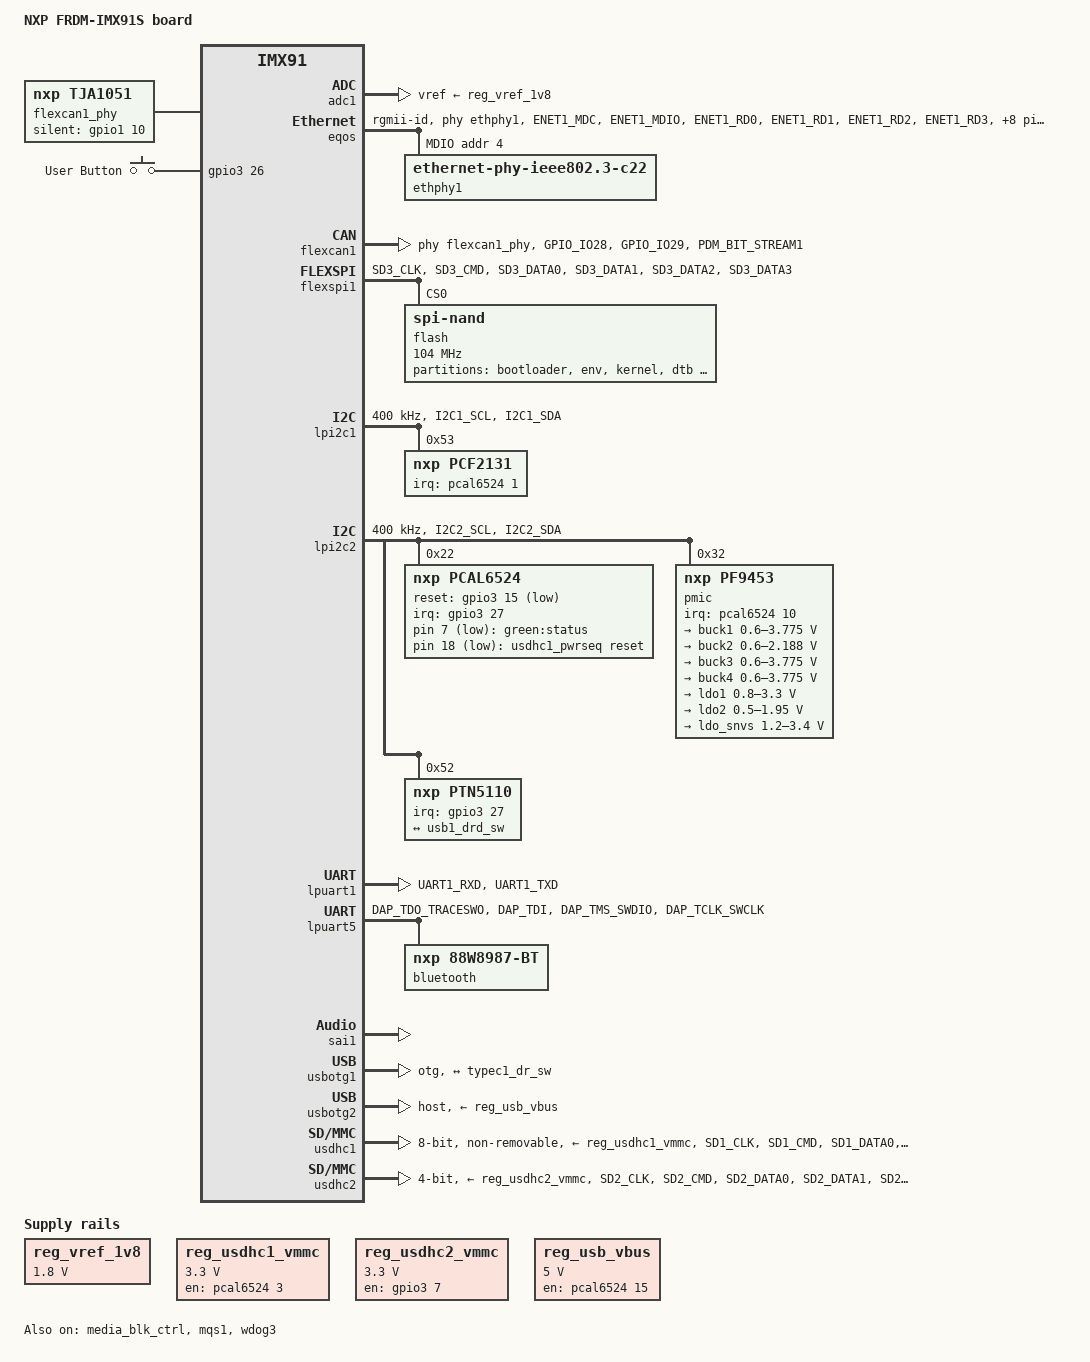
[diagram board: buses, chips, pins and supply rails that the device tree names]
// SPDX-License-Identifier: (GPL-2.0+ OR MIT)
/*
 * Copyright 2025 NXP
 */

/dts-v1/;

#include <dt-bindings/usb/pd.h>
#include "imx91.dtsi"

/ {
	compatible = "fsl,imx91-11x11-frdm-s", "fsl,imx91";
	model = "NXP FRDM-IMX91S board";

	aliases {
		ethernet0 = &eqos;
		gpio0 = &gpio1;
		gpio1 = &gpio2;
		gpio2 = &gpio3;
		gpio3 = &gpio4;
		i2c0 = &lpi2c1;
		i2c1 = &lpi2c2;
		mmc0 = &usdhc1;
		mmc1 = &usdhc2;
		rtc0 = &pcf2131;
		rtc1 = &bbnsm_rtc;
		serial0 = &lpuart1;
		serial4 = &lpuart5;
	};

	chosen {
		stdout-path = &lpuart1;
	};

	flexcan1_phy: can-phy {
		compatible = "nxp,tja1051";
		#phy-cells = <0>;
		max-bitrate = <5000000>;
		silent-gpios = <&gpio1 10 GPIO_ACTIVE_HIGH>;
	};

	gpio-keys {
		compatible = "gpio-keys";
		pinctrl-0 = <&pinctrl_gpio_key>;
		pinctrl-names = "default";

		button {
			interrupt-parent = <&gpio3>;
			interrupts = <26 IRQ_TYPE_EDGE_FALLING>;
			gpios = <&gpio3 26 GPIO_PULL_UP>;
			label = "User Button";
			linux,code = <BTN_1>;
		};
	};

	gpio-leds {
		compatible = "gpio-leds";

		led-0 {
			default-state = "on";
			gpios = <&pcal6524 7 GPIO_ACTIVE_LOW>;
			label = "green:status";
		};
	};

	reg_vref_1v8: regulator-adc-vref {
		compatible = "regulator-fixed";
		regulator-max-microvolt = <1800000>;
		regulator-min-microvolt = <1800000>;
		regulator-name = "vref_1v8";
	};

	reg_usdhc1_vmmc: regulator-usdhc1 {
		compatible = "regulator-fixed";
		regulator-max-microvolt = <3300000>;
		regulator-min-microvolt = <3300000>;
		regulator-name = "WLAN_EN";
		startup-delay-us = <20000>;
		gpio = <&pcal6524 3 GPIO_ACTIVE_HIGH>;
		enable-active-high;
	};

	reg_usdhc2_vmmc: regulator-usdhc2 {
		compatible = "regulator-fixed";
		off-on-delay-us = <12000>;
		pinctrl-0 = <&pinctrl_reg_usdhc2_vmmc>;
		pinctrl-names = "default";
		regulator-max-microvolt = <3300000>;
		regulator-min-microvolt = <3300000>;
		regulator-name = "VSD_3V3";
		gpio = <&gpio3 7 GPIO_ACTIVE_HIGH>;
		enable-active-high;
		bootph-pre-ram;
		bootph-some-ram;
	};

	reg_usb_vbus: regulator-vbus {
		compatible = "regulator-fixed";
		regulator-max-microvolt = <5000000>;
		regulator-min-microvolt = <5000000>;
		regulator-name = "USB_VBUS";
		gpio = <&pcal6524 15 GPIO_ACTIVE_HIGH>;
		enable-active-high;
	};

	reserved-memory {
		#address-cells = <2>;
		#size-cells = <2>;
		ranges;

		linux,cma {
			compatible = "shared-dma-pool";
			alloc-ranges = <0 0x80000000 0 0x20000000>;
			reusable;
			size = <0 0x2000000>;
			linux,cma-default;
		};
	};

	soc@0 {
		bootph-all;
		bootph-pre-ram;
	};

	sound-mqs {
		compatible = "fsl,imx-audio-mqs";
		model = "mqs-audio";
		audio-codec = <&mqs1>;
		audio-cpu = <&sai1>;
	};

	usdhc1_pwrseq: usdhc1-pwrseq {
		compatible = "mmc-pwrseq-simple";
		reset-gpios = <&pcal6524 18 GPIO_ACTIVE_LOW>;
	};
};

&adc1 {
	vref-supply = <&reg_vref_1v8>;
	status = "okay";
};

&aips1 {
	bootph-pre-ram;
	bootph-all;
};

&aips2 {
	bootph-pre-ram;
	bootph-some-ram;
};

&aips3 {
	bootph-pre-ram;
	bootph-some-ram;
};

&clk {
	bootph-all;
	bootph-pre-ram;
};

&clk_ext1 {
	bootph-all;
	bootph-pre-ram;
};

&eqos {
	phy-handle = <&ethphy1>;
	phy-mode = "rgmii-id";
	pinctrl-0 = <&pinctrl_eqos>;
	pinctrl-1 = <&pinctrl_eqos_sleep>;
	pinctrl-names = "default", "sleep";
	status = "okay";

	mdio {
		compatible = "snps,dwmac-mdio";
		#address-cells = <1>;
		#size-cells = <0>;
		clock-frequency = <5000000>;

		ethphy1: ethernet-phy@4 {
			compatible = "ethernet-phy-ieee802.3-c22";
			reg = <4>;
		};
	};
};

&flexcan1 {
	phys = <&flexcan1_phy>;
	pinctrl-0 = <&pinctrl_flexcan1>;
	pinctrl-1 = <&pinctrl_flexcan1_sleep>;
	pinctrl-names = "default", "sleep";
	status = "okay";
};

&flexspi1 {
	pinctrl-0 = <&pinctrl_flexspi1>;
	pinctrl-names = "default";
	status = "okay";

	flash@0 {
		compatible = "spi-nand";
		reg = <0>;
		#address-cells = <1>;
		#size-cells = <1>;
		spi-max-frequency = <104000000>;
		spi-rx-bus-width = <4>;
		spi-tx-bus-width = <4>;

		partitions {
			compatible = "fixed-partitions";
			#address-cells = <1>;
			#size-cells = <1>;

			partition@0 {
				reg = <0x000000 0x800000>;
				label = "bootloader";
			};

			partition@1 {
				reg = <0x800000 0x800000>;
				label = "env";
			};

			partition@2 {
				reg = <0x1000000 0x2800000>;
				label = "kernel";
			};

			partition@3 {
				reg = <0x3800000 0x20000>;
				label = "dtb";
			};

			partition@4 {
				reg = <0x3820000 0xc7e0000>;
				label = "rootfs";
				linux,rootfs;
			};
		};
	};
};

&gpio1 {
	bootph-pre-ram;
	bootph-some-ram;
};

&gpio2 {
	bootph-pre-ram;
	bootph-some-ram;
};

&gpio3 {
	bootph-pre-ram;
	bootph-some-ram;
};

&gpio4 {
	bootph-pre-ram;
	bootph-some-ram;
};

&iomuxc {
	bootph-pre-ram;
	bootph-some-ram;

	pinctrl_eqos: eqosgrp {
		fsl,pins = <
			MX91_PAD_ENET1_MDC__ENET1_MDC				0x57e
			MX91_PAD_ENET1_MDIO__ENET_QOS_MDIO			0x57e
			MX91_PAD_ENET1_RD0__ENET_QOS_RGMII_RD0			0x57e
			MX91_PAD_ENET1_RD1__ENET_QOS_RGMII_RD1			0x57e
			MX91_PAD_ENET1_RD2__ENET_QOS_RGMII_RD2			0x57e
			MX91_PAD_ENET1_RD3__ENET_QOS_RGMII_RD3			0x57e
			MX91_PAD_ENET1_RXC__ENET_QOS_RGMII_RXC			0x5fe
			MX91_PAD_ENET1_RX_CTL__ENET_QOS_RGMII_RX_CTL		0x57e
			MX91_PAD_ENET1_TD0__ENET_QOS_RGMII_TD0			0x57e
			MX91_PAD_ENET1_TD1__ENET1_RGMII_TD1			0x57e
			MX91_PAD_ENET1_TD2__ENET_QOS_RGMII_TD2			0x57e
			MX91_PAD_ENET1_TD3__ENET_QOS_RGMII_TD3			0x57e
			MX91_PAD_ENET1_TXC__CCM_ENET_QOS_CLOCK_GENERATE_TX_CLK	0x5fe
			MX91_PAD_ENET1_TX_CTL__ENET_QOS_RGMII_TX_CTL		0x57e
		>;
	};

	pinctrl_eqos_sleep: eqossleepgrp {
		fsl,pins = <
			MX91_PAD_ENET1_MDC__GPIO4_IO0				0x31e
			MX91_PAD_ENET1_MDIO__GPIO4_IO1				0x31e
			MX91_PAD_ENET1_RD0__GPIO4_IO10				0x31e
			MX91_PAD_ENET1_RD1__GPIO4_IO11				0x31e
			MX91_PAD_ENET1_RD2__GPIO4_IO12				0x31e
			MX91_PAD_ENET1_RD3__GPIO4_IO13				0x31e
			MX91_PAD_ENET1_RXC__GPIO4_IO9				0x31e
			MX91_PAD_ENET1_RX_CTL__GPIO4_IO8			0x31e
			MX91_PAD_ENET1_TD0__GPIO4_IO5				0x31e
			MX91_PAD_ENET1_TD1__GPIO4_IO4				0x31e
			MX91_PAD_ENET1_TD2__GPIO4_IO3				0x31e
			MX91_PAD_ENET1_TD3__GPIO4_IO2				0x31e
			MX91_PAD_ENET1_TXC__GPIO4_IO7				0x31e
			MX91_PAD_ENET1_TX_CTL__GPIO4_IO6			0x31e
		>;
	};

	pinctrl_flexcan1: flexcan1grp {
		fsl,pins = <
			MX91_PAD_GPIO_IO28__CAN1_TX				0x139e
			MX91_PAD_GPIO_IO29__CAN1_RX				0x139e
			MX91_PAD_PDM_BIT_STREAM1__GPIO1_IO10			0x31e
		>;
	};

	pinctrl_flexcan1_sleep: flexcan1sleepgrp {
		fsl,pins = <
			MX91_PAD_GPIO_IO28__GPIO2_IO28				0x31e
			MX91_PAD_GPIO_IO29__GPIO2_IO29				0x31e
			MX91_PAD_PDM_BIT_STREAM1__GPIO1_IO10			0x31e
		>;
	};

	pinctrl_flexspi1: flexspi1grp {
		fsl,pins = <
			MX91_PAD_SD3_CLK__FLEXSPI1_A_SCLK			0x3fe
			MX91_PAD_SD3_CMD__FLEXSPI1_A_SS0_B			0x3fe
			MX91_PAD_SD3_DATA0__FLEXSPI1_A_DATA0			0x3fe
			MX91_PAD_SD3_DATA1__FLEXSPI1_A_DATA1			0x3fe
			MX91_PAD_SD3_DATA2__FLEXSPI1_A_DATA2			0x3fe
			MX91_PAD_SD3_DATA3__FLEXSPI1_A_DATA3			0x3fe
		>;
	};

	pinctrl_gpio_key: gpiokeysgrp {
		fsl,pins = <
			MX91_PAD_CCM_CLKO1__GPIO3_IO26				0x31e
		>;
	};

	pinctrl_lpi2c1: lpi2c1grp {
		fsl,pins = <
			MX91_PAD_I2C1_SCL__LPI2C1_SCL				0x40000b9e
			MX91_PAD_I2C1_SDA__LPI2C1_SDA				0x40000b9e
		>;
		bootph-pre-ram;
		bootph-some-ram;
	};

	pinctrl_lpi2c2: lpi2c2grp {
		fsl,pins = <
			MX91_PAD_I2C2_SCL__LPI2C2_SCL				0x40000b9e
			MX91_PAD_I2C2_SDA__LPI2C2_SDA				0x40000b9e
		>;
		bootph-pre-ram;
		bootph-some-ram;
	};

	pinctrl_mqs1: mqs1grp {
		fsl,pins = <
			MX91_PAD_PDM_CLK__MQS1_LEFT				0x31e
			MX91_PAD_PDM_BIT_STREAM0__MQS1_RIGHT			0x31e
		>;
	};

	pinctrl_pcal6524: pcal6524grp {
		fsl,pins = <
			MX91_PAD_CCM_CLKO2__GPIO3_IO27				0x31e
			MX91_PAD_SD1_DATA5__GPIO3_IO15				0x31e
		>;
	};

	pinctrl_reg_usdhc2_vmmc: regusdhc2vmmcgrp {
		fsl,pins = <
			MX91_PAD_SD2_RESET_B__GPIO3_IO7				0x31e
		>;
		bootph-pre-ram;
	};

	pinctrl_uart1: uart1grp {
		fsl,pins = <
			MX91_PAD_UART1_RXD__LPUART1_RX				0x31e
			MX91_PAD_UART1_TXD__LPUART1_TX				0x31e
		>;
		bootph-pre-ram;
		bootph-some-ram;
	};

	pinctrl_uart5: uart5grp {
		fsl,pins = <
			MX91_PAD_DAP_TDO_TRACESWO__LPUART5_TX			0x31e
			MX91_PAD_DAP_TDI__LPUART5_RX				0x31e
			MX91_PAD_DAP_TMS_SWDIO__LPUART5_RTS_B			0x31e
			MX91_PAD_DAP_TCLK_SWCLK__LPUART5_CTS_B			0x31e
		>;
	};

	pinctrl_usdhc1: usdhc1grp {
		fsl,pins = <
			MX91_PAD_SD1_CLK__USDHC1_CLK				0x1582
			MX91_PAD_SD1_CMD__USDHC1_CMD				0x1382
			MX91_PAD_SD1_DATA0__USDHC1_DATA0			0x1382
			MX91_PAD_SD1_DATA1__USDHC1_DATA1			0x1382
			MX91_PAD_SD1_DATA2__USDHC1_DATA2			0x1382
			MX91_PAD_SD1_DATA3__USDHC1_DATA3			0x1382
			MX91_PAD_SD1_DATA4__GPIO3_IO14				0x31e
			MX91_PAD_SD1_STROBE__GPIO3_IO18				0x31e
		>;
		bootph-pre-ram;
		bootph-some-ram;
	};

	pinctrl_usdhc1_100mhz: usdhc1-100mhzgrp {
		fsl,pins = <
			MX91_PAD_SD1_CLK__USDHC1_CLK				0x158e
			MX91_PAD_SD1_CMD__USDHC1_CMD				0x138e
			MX91_PAD_SD1_DATA0__USDHC1_DATA0			0x138e
			MX91_PAD_SD1_DATA1__USDHC1_DATA1			0x138e
			MX91_PAD_SD1_DATA2__USDHC1_DATA2			0x138e
			MX91_PAD_SD1_DATA3__USDHC1_DATA3			0x138e
			MX91_PAD_SD1_DATA4__GPIO3_IO14				0x31e
			MX91_PAD_SD1_STROBE__GPIO3_IO18				0x31e
		>;
	};

	pinctrl_usdhc1_200mhz: usdhc1-200mhzgrp {
		fsl,pins = <
			MX91_PAD_SD1_CLK__USDHC1_CLK				0x15fe
			MX91_PAD_SD1_CMD__USDHC1_CMD				0x13fe
			MX91_PAD_SD1_DATA0__USDHC1_DATA0			0x13fe
			MX91_PAD_SD1_DATA1__USDHC1_DATA1			0x13fe
			MX91_PAD_SD1_DATA2__USDHC1_DATA2			0x13fe
			MX91_PAD_SD1_DATA3__USDHC1_DATA3			0x13fe
			MX91_PAD_SD1_DATA4__GPIO3_IO14				0x31e
			MX91_PAD_SD1_STROBE__GPIO3_IO18				0x31e
		>;
	};

	pinctrl_usdhc2_gpio: usdhc2gpiogrp {
		fsl,pins = <
			MX91_PAD_SD2_CD_B__GPIO3_IO0				0x31e
		>;
		bootph-pre-ram;
		bootph-some-ram;
	};

	pinctrl_usdhc2_gpio_sleep: usdhc2gpiosleepgrp {
		fsl,pins = <
			MX91_PAD_SD2_CD_B__GPIO3_IO0				0x51e
		>;
	};

	pinctrl_usdhc2: usdhc2grp {
		fsl,pins = <
			MX91_PAD_SD2_CLK__USDHC2_CLK				0x1582
			MX91_PAD_SD2_CMD__USDHC2_CMD				0x1382
			MX91_PAD_SD2_DATA0__USDHC2_DATA0			0x1382
			MX91_PAD_SD2_DATA1__USDHC2_DATA1			0x1382
			MX91_PAD_SD2_DATA2__USDHC2_DATA2			0x1382
			MX91_PAD_SD2_DATA3__USDHC2_DATA3			0x1382
			MX91_PAD_SD2_VSELECT__USDHC2_VSELECT			0x51e
		>;
		bootph-pre-ram;
		bootph-some-ram;
	};

	pinctrl_usdhc2_sleep: usdhc2sleepgrp {
		fsl,pins = <
			MX91_PAD_SD2_CLK__GPIO3_IO1				0x51e
			MX91_PAD_SD2_CMD__GPIO3_IO2				0x51e
			MX91_PAD_SD2_DATA0__GPIO3_IO3				0x51e
			MX91_PAD_SD2_DATA1__GPIO3_IO4				0x51e
			MX91_PAD_SD2_DATA2__GPIO3_IO5				0x51e
			MX91_PAD_SD2_DATA3__GPIO3_IO6				0x51e
			MX91_PAD_SD2_VSELECT__GPIO3_IO19			0x51e
		>;
	};

	pinctrl_usdhc2_100mhz: usdhc2-100mhzgrp {
		fsl,pins = <
			MX91_PAD_SD2_CLK__USDHC2_CLK				0x158e
			MX91_PAD_SD2_CMD__USDHC2_CMD				0x138e
			MX91_PAD_SD2_DATA0__USDHC2_DATA0			0x138e
			MX91_PAD_SD2_DATA1__USDHC2_DATA1			0x138e
			MX91_PAD_SD2_DATA2__USDHC2_DATA2			0x138e
			MX91_PAD_SD2_DATA3__USDHC2_DATA3			0x138e
			MX91_PAD_SD2_VSELECT__USDHC2_VSELECT			0x51e
		>;
	};

	pinctrl_usdhc2_200mhz: usdhc2-200mhzgrp {
		fsl,pins = <
			MX91_PAD_SD2_CLK__USDHC2_CLK				0x15fe
			MX91_PAD_SD2_CMD__USDHC2_CMD				0x13fe
			MX91_PAD_SD2_DATA0__USDHC2_DATA0			0x13fe
			MX91_PAD_SD2_DATA1__USDHC2_DATA1			0x13fe
			MX91_PAD_SD2_DATA2__USDHC2_DATA2			0x13fe
			MX91_PAD_SD2_DATA3__USDHC2_DATA3			0x13fe
			MX91_PAD_SD2_VSELECT__USDHC2_VSELECT			0x51e
		>;
	};

	pinctrl_wdog: wdoggrp {
		fsl,pins = <
			MX91_PAD_WDOG_ANY__WDOG1_WDOG_ANY			0x31e
		>;
	};
};

&lpi2c1 {
	clock-frequency = <400000>;
	pinctrl-0 = <&pinctrl_lpi2c1>;
	pinctrl-names = "default";
	bootph-pre-ram;
	bootph-some-ram;
	status = "okay";

	pcf2131: rtc@53 {
		compatible = "nxp,pcf2131";
		reg = <0x53>;
		interrupt-parent = <&pcal6524>;
		interrupts = <1 IRQ_TYPE_EDGE_FALLING>;
	};
};

&lpi2c2 {
	clock-frequency = <400000>;
	pinctrl-0 = <&pinctrl_lpi2c2>;
	pinctrl-names = "default";
	bootph-pre-ram;
	bootph-some-ram;
	status = "okay";

	pcal6524: gpio@22 {
		compatible = "nxp,pcal6524";
		reg = <0x22>;
		#interrupt-cells = <2>;
		interrupt-controller;
		interrupt-parent = <&gpio3>;
		interrupts = <27 IRQ_TYPE_LEVEL_LOW>;
		#gpio-cells = <2>;
		gpio-controller;
		pinctrl-0 = <&pinctrl_pcal6524>;
		pinctrl-names = "default";
		reset-gpios = <&gpio3 15 GPIO_ACTIVE_LOW>;
	};

	pmic@32 {
		compatible = "nxp,pf9453";
		reg = <0x32>;
		interrupt-parent = <&pcal6524>;
		interrupts = <10 IRQ_TYPE_EDGE_FALLING>;
		bootph-pre-ram;
		bootph-some-ram;

		regulators {
			bootph-pre-ram;
			bootph-some-ram;

			buck1: BUCK1 {
				regulator-always-on;
				regulator-boot-on;
				regulator-max-microvolt = <3775000>;
				regulator-min-microvolt = <600000>;
				regulator-name = "BUCK1";
			};

			buck2: BUCK2 {
				regulator-always-on;
				regulator-boot-on;
				regulator-max-microvolt = <2187500>;
				regulator-min-microvolt = <600000>;
				regulator-name = "BUCK2";
				regulator-ramp-delay = <12500>;
			};

			buck3: BUCK3 {
				regulator-always-on;
				regulator-boot-on;
				regulator-max-microvolt = <3775000>;
				regulator-min-microvolt = <600000>;
				regulator-name = "BUCK3";
			};

			buck4: BUCK4 {
				regulator-always-on;
				regulator-boot-on;
				regulator-max-microvolt = <3775000>;
				regulator-min-microvolt = <600000>;
				regulator-name = "BUCK4";
			};

			ldo1: LDO1 {
				regulator-always-on;
				regulator-boot-on;
				regulator-max-microvolt = <3300000>;
				regulator-min-microvolt = <800000>;
				regulator-name = "LDO1";
			};

			ldo2: LDO2 {
				regulator-always-on;
				regulator-boot-on;
				regulator-max-microvolt = <1950000>;
				regulator-min-microvolt = <500000>;
				regulator-name = "LDO2";
			};

			ldo_snvs: LDO-SNVS {
				regulator-always-on;
				regulator-boot-on;
				regulator-max-microvolt = <3400000>;
				regulator-min-microvolt = <1200000>;
				regulator-name = "LDO-SNVS";
			};
		};
	};

	ptn5110: tcpc@52 {
		compatible = "nxp,ptn5110", "tcpci";
		reg = <0x52>;
		interrupt-parent = <&gpio3>;
		interrupts = <27 IRQ_TYPE_LEVEL_LOW>;

		typec1_con: connector {
			compatible = "usb-c-connector";
			data-role = "dual";
			label = "USB-C";
			op-sink-microwatt = <15000000>;
			power-role = "dual";
			self-powered;
			sink-pdos = <PDO_FIXED(5000, 3000, PDO_FIXED_USB_COMM)
				     PDO_VAR(5000, 20000, 3000)>;
			source-pdos = <PDO_FIXED(5000, 3000, PDO_FIXED_USB_COMM)>;
			try-power-role = "sink";

			ports {
				#address-cells = <1>;
				#size-cells = <0>;

				port@0 {
					reg = <0>;

					typec1_dr_sw: endpoint {
						remote-endpoint = <&usb1_drd_sw>;
					};
				};
			};
		};
	};
};

&lpuart1 {
	pinctrl-0 = <&pinctrl_uart1>;
	pinctrl-names = "default";
	bootph-pre-ram;
	bootph-some-ram;
	status = "okay";
};

&lpuart5 {
	pinctrl-0 = <&pinctrl_uart5>;
	pinctrl-names = "default";
	status = "okay";

	bluetooth {
		compatible = "nxp,88w8987-bt";
	};
};

&media_blk_ctrl {
	status = "okay";
};

&mqs1 {
	clocks = <&clk IMX93_CLK_MQS1_GATE>;
	clock-names = "mclk";
	pinctrl-0 = <&pinctrl_mqs1>;
	pinctrl-names = "default";
	status = "okay";
};

&osc_32k {
	bootph-all;
	bootph-pre-ram;
};

&osc_24m {
	bootph-all;
	bootph-pre-ram;
};

&sai1 {
	clocks = <&clk IMX93_CLK_SAI1_IPG>, <&clk IMX93_CLK_DUMMY>,
		 <&clk IMX93_CLK_SAI1_GATE>, <&clk IMX93_CLK_DUMMY>,
		 <&clk IMX93_CLK_DUMMY>, <&clk IMX93_CLK_AUDIO_PLL>;
	clock-names = "bus", "mclk0", "mclk1", "mclk2", "mclk3", "pll8k";
	assigned-clocks = <&clk IMX93_CLK_SAI1>;
	assigned-clock-parents = <&clk IMX93_CLK_AUDIO_PLL>;
	assigned-clock-rates = <24576000>;
	#sound-dai-cells = <0>;
	fsl,sai-mclk-direction-output;
	status = "okay";
};

&usbotg1 {
	adp-disable;
	disable-over-current;
	dr_mode = "otg";
	hnp-disable;
	srp-disable;
	usb-role-switch;
	samsung,picophy-dc-vol-level-adjust = <7>;
	samsung,picophy-pre-emp-curr-control = <3>;
	status = "okay";

	port {
		usb1_drd_sw: endpoint {
			remote-endpoint = <&typec1_dr_sw>;
		};
	};
};

&usbotg2 {
	disable-over-current;
	dr_mode = "host";
	vbus-supply = <&reg_usb_vbus>;
	samsung,picophy-dc-vol-level-adjust = <7>;
	samsung,picophy-pre-emp-curr-control = <3>;
	status = "okay";
};

&usdhc1 {
	bus-width = <8>;
	keep-power-in-suspend;
	mmc-pwrseq = <&usdhc1_pwrseq>;
	non-removable;
	pinctrl-0 = <&pinctrl_usdhc1>;
	pinctrl-1 = <&pinctrl_usdhc1_100mhz>;
	pinctrl-2 = <&pinctrl_usdhc1_200mhz>;
	pinctrl-names = "default", "state_100mhz", "state_200mhz";
	vmmc-supply = <&reg_usdhc1_vmmc>;
	wakeup-source;
	bootph-pre-ram;
	bootph-some-ram;
	status = "okay";
};

&usdhc2 {
	bus-width = <4>;
	cd-gpios = <&gpio3 0 GPIO_ACTIVE_LOW>;
	no-mmc;
	no-sdio;
	pinctrl-0 = <&pinctrl_usdhc2>, <&pinctrl_usdhc2_gpio>;
	pinctrl-1 = <&pinctrl_usdhc2_100mhz>, <&pinctrl_usdhc2_gpio>;
	pinctrl-2 = <&pinctrl_usdhc2_200mhz>, <&pinctrl_usdhc2_gpio>;
	pinctrl-3 = <&pinctrl_usdhc2_sleep>, <&pinctrl_usdhc2_gpio_sleep>;
	pinctrl-names = "default", "state_100mhz", "state_200mhz", "sleep";
	vmmc-supply = <&reg_usdhc2_vmmc>;
	bootph-pre-ram;
	bootph-some-ram;
	status = "okay";
};

&wdog3 {
	pinctrl-0 = <&pinctrl_wdog>;
	pinctrl-names = "default";
	fsl,ext-reset-output;
	status = "okay";
};
